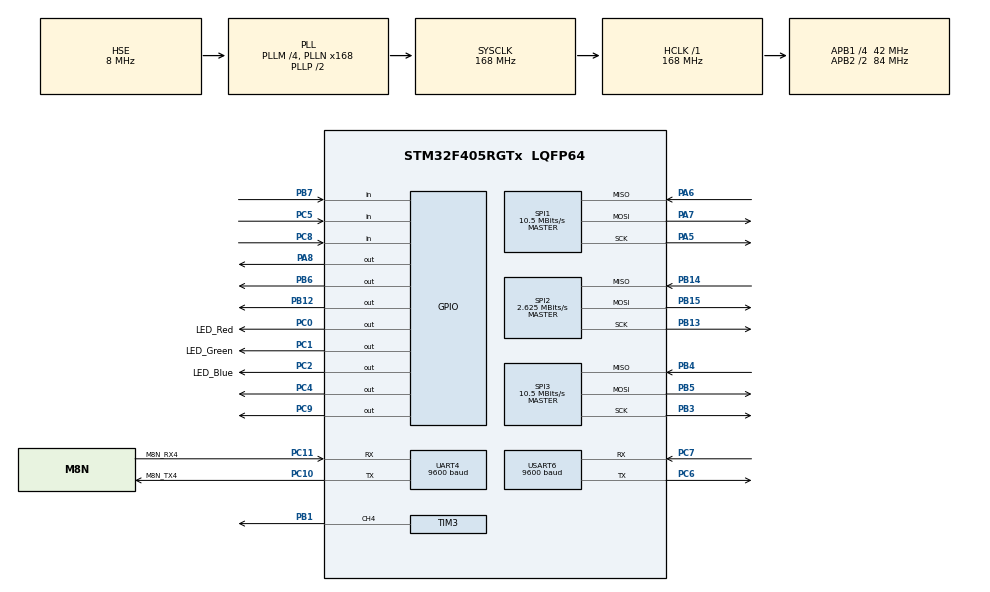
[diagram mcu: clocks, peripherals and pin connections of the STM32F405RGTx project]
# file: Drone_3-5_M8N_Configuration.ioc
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Mcu.Family=STM32F4
Mcu.Name=STM32F405RGTx
Mcu.Package=LQFP64
NVIC.PriorityGroup=NVIC_PRIORITYGROUP_4
NVIC.UART4_IRQn=true\:0\:0\:false\:false\:true\:true\:true\:true
NVIC.USART6_IRQn=true\:0\:0\:false\:false\:true\:true\:true\:true
PA5.Mode=Full_Duplex_Master
PA5.Signal=SPI1_SCK
PA6.Mode=Full_Duplex_Master
PA6.Signal=SPI1_MISO
PA7.Mode=Full_Duplex_Master
PA7.Signal=SPI1_MOSI
PA8.Signal=GPIO_Output
PB1.Signal=S_TIM3_CH4
PB12.Signal=GPIO_Output
PB13.Mode=Full_Duplex_Master
PB13.Signal=SPI2_SCK
PB14.Mode=Full_Duplex_Master
PB14.Signal=SPI2_MISO
PB15.Mode=Full_Duplex_Master
PB15.Signal=SPI2_MOSI
PB3.Mode=Full_Duplex_Master
PB3.Signal=SPI3_SCK
PB4.Mode=Full_Duplex_Master
PB4.Signal=SPI3_MISO
PB5.Mode=Full_Duplex_Master
PB5.Signal=SPI3_MOSI
PB6.Signal=GPIO_Output
PB7.Signal=GPIO_Input
PC0.GPIO_Label=LED_Red
PC0.Signal=GPIO_Output
PC1.GPIO_Label=LED_Green
PC1.Signal=GPIO_Output
PC10.GPIO_Label=M8N_TX4
PC10.Mode=Asynchronous
PC10.Signal=UART4_TX
PC11.GPIO_Label=M8N_RX4
PC11.Mode=Asynchronous
PC11.Signal=UART4_RX
PC2.GPIO_Label=LED_Blue
PC2.Signal=GPIO_Output
PC4.Signal=GPIO_Output
PC5.Signal=GPIO_Input
PC6.Mode=Asynchronous
PC6.Signal=USART6_TX
PC7.Mode=Asynchronous
PC7.Signal=USART6_RX
PC8.Signal=GPIO_Input
PC9.Signal=GPIO_Output
PH0-OSC_IN.Mode=HSE-External-Oscillator
PH0-OSC_IN.Signal=RCC_OSC_IN
PH1-OSC_OUT.Mode=HSE-External-Oscillator
PH1-OSC_OUT.Signal=RCC_OSC_OUT
ProjectManager.HeapSize=0x200
ProjectManager.StackSize=0x400
ProjectManager.TargetToolchain=STM32CubeIDE
RCC.48MHZClocksFreq_Value=84000000
RCC.AHBFreq_Value=168000000
RCC.APB1CLKDivider=RCC_HCLK_DIV4
RCC.APB1Freq_Value=42000000
RCC.APB1TimFreq_Value=84000000
RCC.APB2CLKDivider=RCC_HCLK_DIV2
RCC.APB2Freq_Value=84000000
RCC.APB2TimFreq_Value=168000000
RCC.CortexFreq_Value=168000000
RCC.HCLKFreq_Value=168000000
RCC.HSE_VALUE=8000000
RCC.HSI_VALUE=16000000
RCC.LSE_VALUE=32768
RCC.PLLM=4
RCC.PLLN=168
RCC.PLLSourceVirtual=RCC_PLLSOURCE_HSE
RCC.SYSCLKFreq_VALUE=168000000
RCC.SYSCLKSource=RCC_SYSCLKSOURCE_PLLCLK
RCC.VCOOutputFreq_Value=336000000
SH.S_TIM3_CH4.0=TIM3_CH4,PWM Generation4 CH4
SPI1.BaudRatePrescaler=SPI_BAUDRATEPRESCALER_8
SPI1.CLKPhase=SPI_PHASE_2EDGE
SPI1.CLKPolarity=SPI_POLARITY_HIGH
SPI1.CalculateBaudRate=10.5 MBits/s
SPI1.Direction=SPI_DIRECTION_2LINES
SPI1.Mode=SPI_MODE_MASTER
SPI1.VirtualType=VM_MASTER
SPI2.BaudRatePrescaler=SPI_BAUDRATEPRESCALER_16
SPI2.CLKPhase=SPI_PHASE_2EDGE
SPI2.CLKPolarity=SPI_POLARITY_HIGH
SPI2.CalculateBaudRate=2.625 MBits/s
SPI2.Direction=SPI_DIRECTION_2LINES
SPI2.Mode=SPI_MODE_MASTER
SPI2.VirtualType=VM_MASTER
SPI3.BaudRatePrescaler=SPI_BAUDRATEPRESCALER_4
SPI3.CLKPhase=SPI_PHASE_2EDGE
SPI3.CLKPolarity=SPI_POLARITY_HIGH
SPI3.CalculateBaudRate=10.5 MBits/s
SPI3.Direction=SPI_DIRECTION_2LINES
SPI3.Mode=SPI_MODE_MASTER
SPI3.VirtualType=VM_MASTER
TIM3.AutoReloadPreload=TIM_AUTORELOAD_PRELOAD_ENABLE
TIM3.Channel-PWM\ Generation4\ CH4=TIM_CHANNEL_4
TIM3.OCFastMode_PWM-PWM\ Generation4\ CH4=TIM_OCFAST_ENABLE
TIM3.Period=21-1
TIM3.Prescaler=1000-1
TIM3.Pulse-PWM\ Generation4\ CH4=11-1
UART4.BaudRate=9600
UART4.VirtualMode=Asynchronous
USART6.BaudRate=9600
USART6.VirtualMode=VM_ASYNC
VP_TIM3_VS_ClockSourceINT.Mode=Internal
board=custom

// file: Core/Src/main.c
/* USER CODE BEGIN Header */
/**
 ******************************************************************************
 * @file           : main.c
 * @brief          : Main program body
 ******************************************************************************
 * @attention
 *
 * Copyright (c) 2024 STMicroelectronics.
 * All rights reserved.
 *
 * This software is licensed under terms that can be found in the LICENSE file
 * in the root directory of this software component.
 * If no LICENSE file comes with this software, it is provided AS-IS.
 *
 ******************************************************************************
 */
/* USER CODE END Header */
#include "main.h"
#include "spi.h"
#include "tim.h"
#include "usart.h"
#include "gpio.h"
#include "M8N.h"

/* USER CODE BEGIN Includes */
#include "BNO080.h"
#include "Quaternion.h"
#include "ICM20602.h"
#include "LPS22HH.h"
#include "M8N.h"
/* USER CODE END Includes */

/* USER CODE BEGIN PTD */

int _write(int file, char *p, int len) {
	//기존 방식은 풀링 방식이어서 데이터가 한번에 많은 양이 보내질때 풀링 방식은 타임아웃으로 인한 오류가 발생한다.
	//HAL_UART_Transmit(&huart6, p, len, 1);

	//인터럽트 방식을 사용하여 이러한 문제를 해결한다.
	HAL_UART_Transmit_IT(&huart6, p, len);
	return len;
}

/* USER CODE END PTD */

/* USER CODE BEGIN PV */
uint8_t uart6_rxData;
uint8_t uart4_rxData;

uint8_t m8n_rx_buf[36]; //m8n 1frame data size
uint8_t m8n_rx_cplt_flag = 0;
/* USER CODE END PV */

void SystemClock_Config(void);

int main(void) {
	/* USER CODE BEGIN 1 */
	float q[4];
	float quatRadianAccuracy;
	/* USER CODE END 1 */

	/* MCU Configuration--------------------------------------------------------*/

	/* Reset of all peripherals, Initializes the Flash interface and the Systick. */
	HAL_Init();

	/* Configure the system clock */
	SystemClock_Config();

	/* Initialize all configured peripherals */
	MX_GPIO_Init();
	MX_TIM3_Init();
	MX_USART6_UART_Init();
	MX_SPI2_Init();
	MX_SPI1_Init();
	MX_SPI3_Init();
	MX_UART4_Init();
	/* USER CODE BEGIN 2 */

	HAL_TIM_PWM_Start(&htim3, TIM_CHANNEL_4);

	htim3.Instance->PSC = 2000;
	HAL_Delay(100);
	htim3.Instance->PSC = 1500;
	HAL_Delay(100);
	htim3.Instance->PSC = 1000;
	HAL_Delay(100);

	HAL_TIM_PWM_Stop(&htim3, TIM_CHANNEL_4);

	//M8N_initialization();
	M8N_NMEA_initialization();
	HAL_UART_Receive_IT(&huart6, &uart6_rxData, 1);
	HAL_UART_Receive_IT(&huart4, &uart4_rxData, 1);

	BNO080_Initialization();
	BNO080_enableRotationVector(2500);

	ICM20602_Initialization();
	LPS22HH_Initialization();

	//M8N_initialization();
	/* USER CODE END 2 */

	/* Infinite loop */
	while (1) {

		/* USER CODE BEGIN 3 */
//	  if(BNO080_dataAvailable()==1)
//	  {
//		   q[0] = BNO080_getQuatI();
//		   q[1] = BNO080_getQuatJ();
//		   q[2] = BNO080_getQuatK();
//		   q[3] = BNO080_getQuatReal();
//		   quatRadianAccuracy = BNO080_getQuatAccuracy();
//
//		   Quaternion_Update(&q[0]);
//
//		   printf("%d,%d,%d\n", (int)(BNO080_Roll*100),(int)(BNO080_Pitch*100), (int)(BNO080_Yaw*100));
//	  }
//	  if(ICM20602_DataReady()==1){
//		  ICM20602_Get3AxisGyroRawData(&ICM20602.gyro_x_raw);
//
//		  ICM20602.gyro_x = ICM20602.gyro_x_raw * 2000.f / 32768.f;
//		  ICM20602.gyro_y = ICM20602.gyro_y_raw * 2000.f / 32768.f;
//		  ICM20602.gyro_z = ICM20602.gyro_z_raw * 2000.f / 32768.f;
//
//		  printf("%d,%d,%d\n",(int)(ICM20602.gyro_x_raw*100),
//				  (int)(ICM20602.gyro_y_raw*100),(int)(ICM20602.gyro_z_raw*100));
//	  }
//	  if(LPS22HH_DataReady()==1){
//		  LPS22HH_GetPressure(&LPS22HH.pressure_raw);
//		  LPS22HH_GetTemperature(&LPS22HH.temperature_raw);
//
//		  LPS22HH.baroAlt = getAltitude2(LPS22HH.pressure_raw/4096.f,LPS22HH.temperature_raw/100.f);
//
//#define X 0.90f
//
//		  LPS22HH.baroAltFilt = LPS22HH.baroAltFilt * X + LPS22HH.baroAlt *(1.0f - X);
//
//		  printf("%d,%d\n",(int)(LPS22HH.baroAlt*100), (int)(LPS22HH.baroAltFilt*100));
//	  }

//		if (m8n_rx_cplt_flag == 1) {
//			m8n_rx_cplt_flag = 0;
//			if (M8N_UBX_CHKSUM_check(&m8n_rx_buf[0], 36) == 1) //Checksum Same
//					{
//				HAL_GPIO_TogglePin(LED_Blue_GPIO_Port, LED_Blue_Pin);
//				M8N_UBX_NAV_POSLLH_Parsing(&m8n_rx_buf[0], &posllh);
//
//				printf("LAT: %ld\tLON: %ld\tHeight: %ld\n", posllh.lat,
//						posllh.lon, posllh.height);
//			}
//		}
	}
	/* USER CODE END 3 */
}

void SystemClock_Config(void) {
	RCC_OscInitTypeDef RCC_OscInitStruct = { 0 };
	RCC_ClkInitTypeDef RCC_ClkInitStruct = { 0 };

	/** Configure the main internal regulator output voltage
	 */
	__HAL_RCC_PWR_CLK_ENABLE();
	__HAL_PWR_VOLTAGESCALING_CONFIG(PWR_REGULATOR_VOLTAGE_SCALE1);

	/** Initializes the RCC Oscillators according to the specified parameters
	 * in the RCC_OscInitTypeDef structure.
	 */
	RCC_OscInitStruct.OscillatorType = RCC_OSCILLATORTYPE_HSE;
	RCC_OscInitStruct.HSEState = RCC_HSE_ON;
	RCC_OscInitStruct.PLL.PLLState = RCC_PLL_ON;
	RCC_OscInitStruct.PLL.PLLSource = RCC_PLLSOURCE_HSE;
	RCC_OscInitStruct.PLL.PLLM = 4;
	RCC_OscInitStruct.PLL.PLLN = 168;
	RCC_OscInitStruct.PLL.PLLP = RCC_PLLP_DIV2;
	RCC_OscInitStruct.PLL.PLLQ = 4;
	if (HAL_RCC_OscConfig(&RCC_OscInitStruct) != HAL_OK) {
		Error_Handler();
	}

	/** Initializes the CPU, AHB and APB buses clocks
	 */
	RCC_ClkInitStruct.ClockType = RCC_CLOCKTYPE_HCLK | RCC_CLOCKTYPE_SYSCLK
			| RCC_CLOCKTYPE_PCLK1 | RCC_CLOCKTYPE_PCLK2;
	RCC_ClkInitStruct.SYSCLKSource = RCC_SYSCLKSOURCE_PLLCLK;
	RCC_ClkInitStruct.AHBCLKDivider = RCC_SYSCLK_DIV1;
	RCC_ClkInitStruct.APB1CLKDivider = RCC_HCLK_DIV4;
	RCC_ClkInitStruct.APB2CLKDivider = RCC_HCLK_DIV2;

	if (HAL_RCC_ClockConfig(&RCC_ClkInitStruct, FLASH_LATENCY_5) != HAL_OK) {
		Error_Handler();
	}
}

/* USER CODE BEGIN 4 */
void HAL_UART_RxCpltCallback(UART_HandleTypeDef *huart) {

	static unsigned char cnt = 0;

	if (huart->Instance == UART4) {

		HAL_UART_Receive_IT(&huart4, &uart4_rxData, 1);

		//GPS를 통해 수신받은 데이터가 바로 com으로 보내지기에 주석처리한다.
		HAL_UART_Transmit(&huart6, &uart4_rxData, 1, 0);

		switch (cnt) {
		case 0:
			if (uart4_rxData == 0xb5) {
				m8n_rx_buf[cnt] = uart4_rxData;
				cnt++;
			}
			break;
		case 1:
			if (uart4_rxData == 0x62) {
				m8n_rx_buf[cnt] = uart4_rxData;
				cnt++;
			} else
				cnt = 0;
			break;
		case 35:
			m8n_rx_buf[cnt] = uart4_rxData;
			cnt = 0;
			m8n_rx_cplt_flag = 1;
		default: //case에 만족하지 않을때 수행한다.
			m8n_rx_buf[cnt] = uart4_rxData;
			cnt++;
			break;
		}
	}

	if (huart->Instance == USART6) {
		HAL_UART_Receive_IT(&huart6, &uart6_rxData, 1);
		HAL_UART_Transmit(&huart4, &uart6_rxData, 1, 0);
	}
}
/* USER CODE END 4 */

void Error_Handler(void) {
	__disable_irq();
	while (1) {
	}
}
